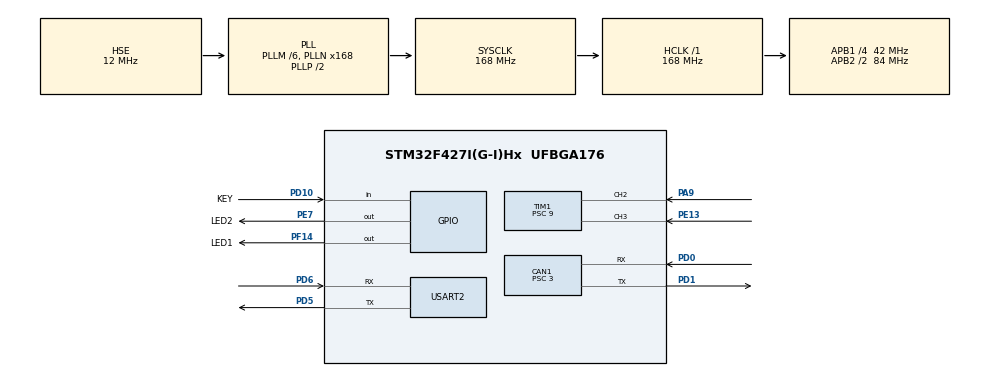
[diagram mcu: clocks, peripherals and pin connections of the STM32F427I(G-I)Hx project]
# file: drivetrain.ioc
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CAN1.ABOM=ENABLE
CAN1.BS1=CAN_BS1_9TQ
CAN1.BS2=CAN_BS2_4TQ
CAN1.CalculateBaudRate=1000000
CAN1.CalculateTimeBit=1000
CAN1.CalculateTimeQuantum=71.42857142857143
CAN1.Prescaler=3
CAN1.SJW=CAN_SJW_1TQ
Dma.Request0=TIM1_CH1/CH2/CH3
Dma.TIM1_CH1/CH2/CH3.0.Direction=DMA_PERIPH_TO_MEMORY
Dma.TIM1_CH1/CH2/CH3.0.FIFOMode=DMA_FIFOMODE_DISABLE
Dma.TIM1_CH1/CH2/CH3.0.Instance=DMA2_Stream6
Dma.TIM1_CH1/CH2/CH3.0.MemDataAlignment=DMA_MDATAALIGN_HALFWORD
Dma.TIM1_CH1/CH2/CH3.0.MemInc=DMA_MINC_ENABLE
Dma.TIM1_CH1/CH2/CH3.0.Mode=DMA_CIRCULAR
Dma.TIM1_CH1/CH2/CH3.0.PeriphDataAlignment=DMA_PDATAALIGN_HALFWORD
Dma.TIM1_CH1/CH2/CH3.0.PeriphInc=DMA_PINC_DISABLE
Dma.TIM1_CH1/CH2/CH3.0.Priority=DMA_PRIORITY_LOW
Mcu.Family=STM32F4
Mcu.Name=STM32F427I(G-I)Hx
Mcu.Package=UFBGA176
NVIC.CAN1_RX0_IRQn=true\:0\:0\:false\:false\:true\:true\:true\:true
NVIC.CAN1_TX_IRQn=true\:0\:0\:false\:false\:true\:true\:true\:true
NVIC.DMA2_Stream6_IRQn=true\:0\:0\:false\:false\:true\:false\:true\:true
NVIC.PriorityGroup=NVIC_PRIORITYGROUP_4
NVIC.TIM6_DAC_IRQn=true\:15\:0\:false\:false\:true\:true\:true\:true
NVIC.TimeBase=TIM6_DAC_IRQn
NVIC.TimeBaseIP=TIM6
NVIC.USART2_IRQn=true\:0\:0\:false\:false\:true\:true\:true\:true
PA13.Mode=Serial_Wire
PA13.Signal=SYS_JTMS-SWDIO
PA14.Mode=Serial_Wire
PA14.Signal=SYS_JTCK-SWCLK
PA9.Signal=S_TIM1_CH2
PD0.Mode=CAN_Activate
PD0.Signal=CAN1_RX
PD1.Mode=CAN_Activate
PD1.Signal=CAN1_TX
PD10.GPIO_Label=KEY
PD10.Signal=GPIO_Input
PD5.Mode=Asynchronous
PD5.Signal=USART2_TX
PD6.Mode=Asynchronous
PD6.Signal=USART2_RX
PE13.Signal=S_TIM1_CH3
PE7.GPIO_Label=LED2
PE7.Signal=GPIO_Output
PF14.GPIO_Label=LED1
PF14.Signal=GPIO_Output
PH0/OSC_IN.Mode=HSE-External-Oscillator
PH0/OSC_IN.Signal=RCC_OSC_IN
PH1/OSC_OUT.Mode=HSE-External-Oscillator
PH1/OSC_OUT.Signal=RCC_OSC_OUT
ProjectManager.HeapSize=0x200
ProjectManager.StackSize=0x400
ProjectManager.TargetToolchain=STM32CubeIDE
RCC.48MHZClocksFreq_Value=84000000
RCC.AHBFreq_Value=168000000
RCC.APB1CLKDivider=RCC_HCLK_DIV4
RCC.APB1Freq_Value=42000000
RCC.APB1TimFreq_Value=84000000
RCC.APB2CLKDivider=RCC_HCLK_DIV2
RCC.APB2Freq_Value=84000000
RCC.APB2TimFreq_Value=168000000
RCC.CortexFreq_Value=168000000
RCC.HCLKFreq_Value=168000000
RCC.HSE_VALUE=12000000
RCC.HSI_VALUE=16000000
RCC.LSE_VALUE=32768
RCC.PLLM=6
RCC.PLLN=168
RCC.PLLSourceVirtual=RCC_PLLSOURCE_HSE
RCC.SYSCLKFreq_VALUE=168000000
RCC.SYSCLKSource=RCC_SYSCLKSOURCE_PLLCLK
RCC.VCOOutputFreq_Value=336000000
SH.S_TIM1_CH2.0=TIM1_CH2,Input_Capture2_from_TI2
SH.S_TIM1_CH2.1=TIM1_CH2,Input_Capture1_from_TI2
SH.S_TIM1_CH3.0=TIM1_CH3,Input_Capture3_from_TI3
SH.S_TIM1_CH3.1=TIM1_CH3,Input_Capture4_from_TI3
TIM1.Channel-Input_Capture1_from_TI2=TIM_CHANNEL_1
TIM1.Channel-Input_Capture2_from_TI2=TIM_CHANNEL_2
TIM1.Channel-Input_Capture3_from_TI3=TIM_CHANNEL_3
TIM1.Channel-Input_Capture4_from_TI3=TIM_CHANNEL_4
TIM1.ICPolarity_CH2=TIM_INPUTCHANNELPOLARITY_BOTHEDGE
TIM1.Period=9999
TIM1.Prescaler=9
USART2.VirtualMode=VM_ASYNC
VP_SYS_VS_tim6.Mode=TIM6
board=demo

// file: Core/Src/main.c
/* USER CODE BEGIN Header */
/**
  ******************************************************************************
  * @file           : main.c
  * @brief          : Main program body
  ******************************************************************************
  * @attention
  *
  * Copyright (c) 2023 STMicroelectronics.
  * All rights reserved.
  *
  * This software is licensed under terms that can be found in the LICENSE file
  * in the root directory of this software component.
  * If no LICENSE file comes with this software, it is provided AS-IS.
  *
  ******************************************************************************
  */
/* USER CODE END Header */
#include "main.h"
#include "can.h"
#include "dma.h"
#include "tim.h"
#include "usart.h"
#include "gpio.h"
#include "PID.h"
// #include "pid.h"

/* USER CODE BEGIN Includes */
#include <string.h>
/* USER CODE END Includes */

/* USER CODE BEGIN PM */
#define UART_RX_BUFFER_SIZE 11  //set to the size we want to limit receive messages to
#define UART_TX_BUFFER_SIZE 12  //set to the size we want to limit send messages to
#define RUN_HEADER 0xCAFE
#define KICK 0x14
#define REDUCTION_RATIO 36.0
/* USER CODE END PM */

/* USER CODE BEGIN PV */
//CAN variables
CAN_TxHeaderTypeDef canTxHeader;
CAN_RxHeaderTypeDef canRxHeader;
uint32_t canTxMailbox;
uint8_t CAN_TxData[8];
uint8_t CAN_RxData[8];

//PID feedback variables
volatile uint8_t motor_idx;
volatile uint16_t angle_data[4];
volatile float speed_data[4];
volatile float torque_current_data[4];
volatile float targetSpeeds[4];
PID_TypeDef motor_pid[4];

volatile float Kp1 = 1;
volatile float Ki1 = 0.4;
volatile float Kd1 = 0;
volatile float Kp2 = 1;
volatile float Ki2 = 0.4;
volatile float Kd2 = 0;
volatile float Kp3 = 1;
volatile float Ki3 = 0.4;
volatile float Kd3 = 0;
volatile float Kp4 = 1;
volatile float Ki4 = 0.4;
volatile float Kd4 = 0;

//UART setup
uint8_t uart_rx_buffer[UART_RX_BUFFER_SIZE]; //buffer that stores in an array of characters user inputs, aka a string
uint8_t uart_tx_buffer[UART_TX_BUFFER_SIZE];
volatile int timeout;  //timeout for safety mechanism to shutoff robot

volatile int kickFlag; //flag for kicking

/* USER CODE END PV */

void SystemClock_Config(void);

int main(void)
{

  /* MCU Configuration--------------------------------------------------------*/

  /* Reset of all peripherals, Initializes the Flash interface and the Systick. */
  HAL_Init();

  /* Configure the system clock */
  SystemClock_Config();

  /* Initialize all configured peripherals */
  MX_GPIO_Init();
  MX_DMA_Init();
  MX_CAN1_Init();
  MX_TIM1_Init();
  MX_USART2_UART_Init();
  /* USER CODE BEGIN 2 */

  //HAL_TIM_PWM_Start(&htim1, TIM_CHANNEL_1);

  //Motor setup
  HAL_GPIO_TogglePin(Motor_Port, Motor1_Pin);
  HAL_GPIO_TogglePin(Motor_Port, Motor2_Pin);
  HAL_GPIO_TogglePin(Motor_Port, Motor3_Pin);
  HAL_GPIO_TogglePin(Motor_Port, Motor4_Pin);

  //CAN setup
  canTxHeader.DLC = 8;
  canTxHeader.IDE = CAN_ID_STD;
  canTxHeader.RTR = CAN_RTR_DATA;
  canTxHeader.StdId = 0x200;
  canTxHeader.TransmitGlobalTime = DISABLE;

  //PID Setup
  for (int i = 0; i < 4; i++)
  {
        speed_data[i] = 0;
  }
  pid_init(&motor_pid[0],9999,1000,20,0,Kp1,Ki1,Kd1);
  pid_init(&motor_pid[1],9999,1000,20,0,Kp2,Ki2,Kd2);
  pid_init(&motor_pid[2],9999,1000,20,0,Kp3,Ki3,Kd3);
  pid_init(&motor_pid[3],9999,1000,20,0,Kp4,Ki4,Kd4);

  for (int i = 0; i < 4; i++)
  {
	  targetSpeeds[i] = 0;
  }

  HAL_UART_Receive_IT(&huart2, uart_rx_buffer, UART_RX_BUFFER_SIZE);

  // forward(5000, 5000);
  // backward(5000, 5000);
  // left(5000, 5000);
  // right(5000, 5000);
  /* USER CODE END 2 */

  /* Infinite loop */
  /* USER CODE BEGIN WHILE */
 while (1)
 {
	  if (kickFlag == 1){               //Triggers a kick
		  kick(20);
		  kickFlag = 0;
	  }

	  if (timeout >= 500){                 //Safety timeout when UART disconnectss
		  for (int i = 0; i < 4; i++) {
			  targetSpeeds[i] = 0;
		  }
	  }

	  for(int i=0; i<4; i++){                          //PID control loop
		  motor_pid[i].target = targetSpeeds[i];
	      pid_calculate(&motor_pid[i],speed_data[i]);
	  }
	  setMotorSpeeds((motor_pid[0].output),(motor_pid[1].output),(motor_pid[2].output),(motor_pid[3].output));

	  int feedbackSize = sizeof(speed_data);
	  uint8_t feedbackBuffer[(feedbackSize+2)];
	  feedbackBuffer[0] = 0xB0;
	  feedbackBuffer[1] = 0xBA;

	  for (int i = 0; i < (sizeof(speed_data) / sizeof(float)); i++)
	  {
		  uint8_t *floatBytes = (uint8_t *)&speed_data[i];
		  feedbackBuffer[2 + (i * 4) + 0] = floatBytes[0];
		  feedbackBuffer[2 + (i * 4) + 1] = floatBytes[1];
		  feedbackBuffer[2 + (i * 4) + 2] = floatBytes[2];
		  feedbackBuffer[2 + (i * 4) + 3] = floatBytes[3];
	  }

	  HAL_UART_Transmit_DMA(&huart2, feedbackBuffer, sizeof(feedbackBuffer));
	  timeout++;
	  HAL_Delay(10);
   /* USER CODE END WHILE */

 }
}

void HAL_CAN_RxFifo0MsgPendingCallback(CAN_HandleTypeDef *hcan)
{
	//HAL_GPIO_TogglePin(LED1_GPIO_Port,LED1_Pin);
    if(hcan == &hcan1)
    {
        HAL_CAN_GetRxMessage(&hcan1, CAN_RX_FIFO0, &canRxHeader, CAN_RxData);

        if(canRxHeader.StdId == 0x201) motor_idx = 0;
        if(canRxHeader.StdId == 0x202) motor_idx = 1;
        if(canRxHeader.StdId == 0x203) motor_idx = 2;
        if(canRxHeader.StdId == 0x204) motor_idx = 3;

        angle_data[motor_idx] = (uint16_t)(CAN_RxData[0]<<8 | CAN_RxData[1]);
        speed_data[motor_idx] = ((int16_t)(CAN_RxData[2]<<8 | CAN_RxData[3]) / REDUCTION_RATIO) ; // angular velocity in rpm
        torque_current_data[motor_idx] = (CAN_RxData[4]<<8 | CAN_RxData[5]);
    }
}

void HAL_UART_RxCpltCallback(UART_HandleTypeDef *huart)
{

	if (((uart_rx_buffer[0] << 8) | (uart_rx_buffer[1])) == RUN_HEADER)
  {

		timeout = 0;

    targetSpeeds[0] = (int16_t)((uart_rx_buffer[2] << 8) | uart_rx_buffer[3]);
    targetSpeeds[1] = (int16_t)((uart_rx_buffer[4] << 8) | uart_rx_buffer[5]);
    targetSpeeds[2] = (int16_t)((uart_rx_buffer[6] << 8) | uart_rx_buffer[7]);
    targetSpeeds[3] = (int16_t)((uart_rx_buffer[8] << 8) | uart_rx_buffer[9]);

		for (int i = 0; i < 4; i++)
    {
      if (targetSpeeds[i] > 500)
      {
          targetSpeeds[i] = 500;
      }
      if (targetSpeeds[i] < -500)
      {
          targetSpeeds[i] = -500;
      }
    }

    if (uart_rx_buffer[10] == KICK)
    {
      kickFlag = 1;
    }

    for (int i = 0; i < 11; i++)
    {
      uart_rx_buffer[i] = 0;
    }

    HAL_GPIO_TogglePin(LED2_GPIO_Port, LED2_Pin);

	}

	HAL_GPIO_TogglePin(LED1_GPIO_Port, LED1_Pin);
	HAL_UART_Receive_IT(&huart2, uart_rx_buffer, UART_RX_BUFFER_SIZE);
}

void SystemClock_Config(void)
{
  RCC_OscInitTypeDef RCC_OscInitStruct = {0};
  RCC_ClkInitTypeDef RCC_ClkInitStruct = {0};

  /** Configure the main internal regulator output voltage
  */
  __HAL_RCC_PWR_CLK_ENABLE();
  __HAL_PWR_VOLTAGESCALING_CONFIG(PWR_REGULATOR_VOLTAGE_SCALE1);

  /** Initializes the RCC Oscillators according to the specified parameters
  * in the RCC_OscInitTypeDef structure.
  */
  RCC_OscInitStruct.OscillatorType = RCC_OSCILLATORTYPE_HSE;
  RCC_OscInitStruct.HSEState = RCC_HSE_ON;
  RCC_OscInitStruct.PLL.PLLState = RCC_PLL_ON;
  RCC_OscInitStruct.PLL.PLLSource = RCC_PLLSOURCE_HSE;
  RCC_OscInitStruct.PLL.PLLM = 6;
  RCC_OscInitStruct.PLL.PLLN = 168;
  RCC_OscInitStruct.PLL.PLLP = RCC_PLLP_DIV2;
  RCC_OscInitStruct.PLL.PLLQ = 4;
  if (HAL_RCC_OscConfig(&RCC_OscInitStruct) != HAL_OK)
  {
    Error_Handler();
  }

  /** Initializes the CPU, AHB and APB buses clocks
  */
  RCC_ClkInitStruct.ClockType = RCC_CLOCKTYPE_HCLK|RCC_CLOCKTYPE_SYSCLK
                              |RCC_CLOCKTYPE_PCLK1|RCC_CLOCKTYPE_PCLK2;
  RCC_ClkInitStruct.SYSCLKSource = RCC_SYSCLKSOURCE_PLLCLK;
  RCC_ClkInitStruct.AHBCLKDivider = RCC_SYSCLK_DIV1;
  RCC_ClkInitStruct.APB1CLKDivider = RCC_HCLK_DIV4;
  RCC_ClkInitStruct.APB2CLKDivider = RCC_HCLK_DIV2;

  if (HAL_RCC_ClockConfig(&RCC_ClkInitStruct, FLASH_LATENCY_5) != HAL_OK)
  {
    Error_Handler();
  }
}

/* USER CODE BEGIN 4 */
void setMotorSpeeds(int16_t ms1, int16_t ms2, int16_t ms3, int16_t ms4)
{
	uint8_t h1 = ms1 >> 8;
	uint8_t l1 = ms1;
	uint8_t h2 = ms2 >> 8;
	uint8_t l2 = ms2;
	uint8_t h3 = ms3 >> 8;
	uint8_t l3 = ms3;
	uint8_t h4 = ms4 >> 8;
	uint8_t l4 = ms4;
	runMotors(h1,l1,h2,l2,h3,l3,h4,l4);
}

void runMotors(unsigned char motorOneHigh, unsigned char motorOneLow, unsigned char motorTwoHigh,
unsigned char motorTwoLow, unsigned char motorThreeHigh, unsigned char motorThreeLow, unsigned char motorFourHigh,
unsigned char motorFourLow)
{
  //speed can be 16 bits, split into high and low bytes
	CAN_TxData[0] = motorOneHigh;  //high byte for speed, shifted 8 because only buffer is only 8 bits
	CAN_TxData[1] = motorOneLow;       //low bytes for speed
	CAN_TxData[2] = motorTwoHigh;
	CAN_TxData[3] = motorTwoLow;
	CAN_TxData[4] = motorThreeHigh;
	CAN_TxData[5] = motorThreeLow;
	CAN_TxData[6] = motorFourHigh;
	CAN_TxData[7] = motorFourLow;
	HAL_CAN_AddTxMessage(&hcan1, &canTxHeader, CAN_TxData, &canTxMailbox);
}

void kick(int kickDuration)
{
	HAL_GPIO_WritePin(Kicker_Port, Kicker_Pin, GPIO_PIN_SET);
	HAL_Delay(kickDuration);
	HAL_GPIO_WritePin(Kicker_Port, Kicker_Pin, GPIO_PIN_RESET);
}

/* USER CODE END 4 */

void HAL_TIM_PeriodElapsedCallback(TIM_HandleTypeDef *htim)

{
  if (htim->Instance == TIM6) {
    HAL_IncTick();
  }
}

void Error_Handler(void)
{
  __disable_irq();
  while (1)
  {
  }
}
